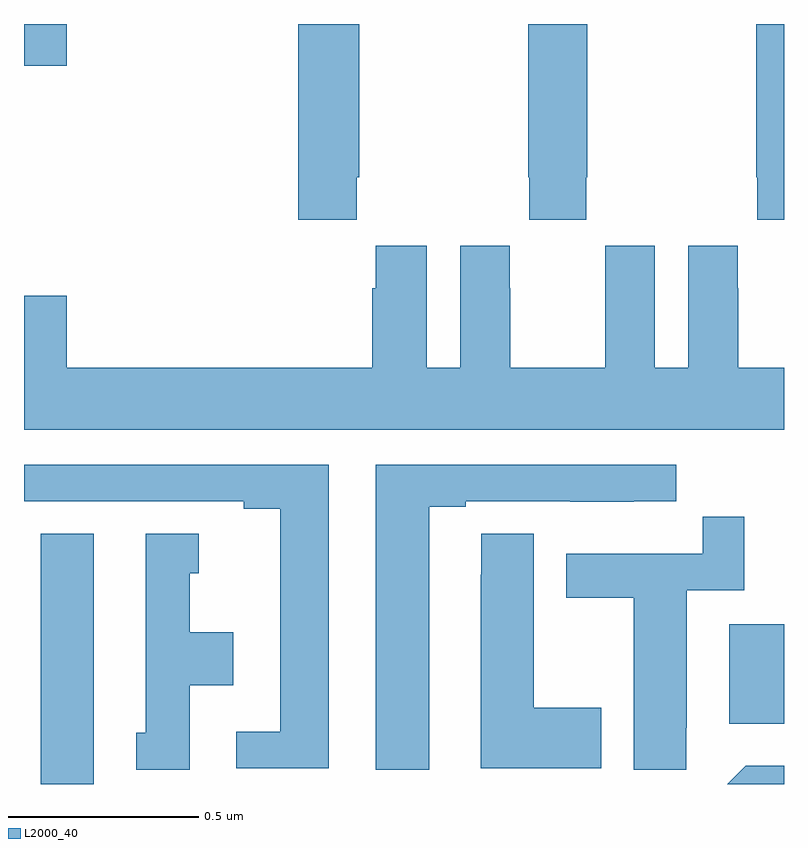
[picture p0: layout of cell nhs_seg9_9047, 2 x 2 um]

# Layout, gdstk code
import gdstk
lib = gdstk.Library(unit=1e-6, precision=1e-09)
def R(c, l, rs):  # rectangles x0, y0, x1, y1
    for r in rs: c.add(gdstk.rectangle(r[:2], r[2:], *l))
def P(c, l, *ps):  # polygons
    for p in ps: c.add(gdstk.Polygon(p, *l))
L2000_40 = (2000, 40)

nhs_seg9_9047 = lib.new_cell('nhs_seg9_9047')
R(nhs_seg9_9047, L2000_40, [(225.044,1183.5,225.184,1184.158), (226.856,1183.658,227,1183.921), (225,1185.39,225.112,1185.5)])
P(nhs_seg9_9047, L2000_40, [(227,1185.5),(226.927,1185.5),(226.927,1185.097),(226.929,1185.097),(226.929,1184.985),(227,1184.985)],
  [(226.479,1185.097),(226.482,1185.097),(226.482,1185.5),(226.327,1185.5),(226.327,1185.097),(226.329,1185.097),(226.329,1184.985),(226.479,1184.985)],
  [(225.875,1185.097),(225.882,1185.097),(225.882,1185.5),(225.722,1185.5),(225.722,1184.985),(225.875,1184.985)],
  [(226.148,1184.917),(226.148,1184.596),(226.06,1184.596),(226.06,1184.917),(225.926,1184.917),(225.926,1184.804),(225.917,1184.804),(225.917,1184.596),(225.112,1184.596),(225.112,1184.785),(225,1184.785),(225,1184.432),(227,1184.432),(227,1184.596),(226.879,1184.596),(226.879,1184.804),(226.878,1184.804),(226.878,1184.917),(226.748,1184.917),(226.748,1184.596),(226.66,1184.596),(226.66,1184.917),(226.53,1184.917),(226.53,1184.804),(226.529,1184.804),(226.529,1184.596),(226.279,1184.596),(226.279,1184.804),(226.278,1184.804),(226.278,1184.917)],
  [(225.802,1184.34),(225,1184.34),(225,1184.244),(225.578,1184.244),(225.578,1184.224),(225.674,1184.224),(225.674,1183.638),(225.558,1183.638),(225.558,1183.542),(225.802,1183.542)],
  [(226.066,1184.229),(226.162,1184.229),(226.162,1184.244),(226.438,1184.244),(226.438,1184.243),(226.604,1184.243),(226.604,1184.244),(226.717,1184.244),(226.717,1184.34),(225.926,1184.34),(225.926,1183.537),(226.066,1183.537)],
  [(226.743,1183.648),(226.744,1183.648),(226.744,1184.01),(226.895,1184.01),(226.895,1184.203),(226.786,1184.203),(226.786,1184.106),(226.427,1184.106),(226.427,1183.99),(226.604,1183.99),(226.604,1183.537),(226.743,1183.537)],
  [(226.519,1183.701),(226.342,1183.701),(226.342,1184.159),(226.203,1184.159),(226.203,1184.051),(226.202,1184.051),(226.202,1183.541),(226.519,1183.541)],
  [(225.436,1183.76),(225.55,1183.76),(225.55,1183.9),(225.436,1183.9),(225.436,1184.055),(225.46,1184.055),(225.46,1184.158),(225.32,1184.158),(225.32,1183.635),(225.296,1183.635),(225.296,1183.537),(225.436,1183.537)],
  [(227,1183.548),(226.899,1183.548),(226.851,1183.5),(227,1183.5)])

lib.write_gds('nhs_seg9_9047.gds')
